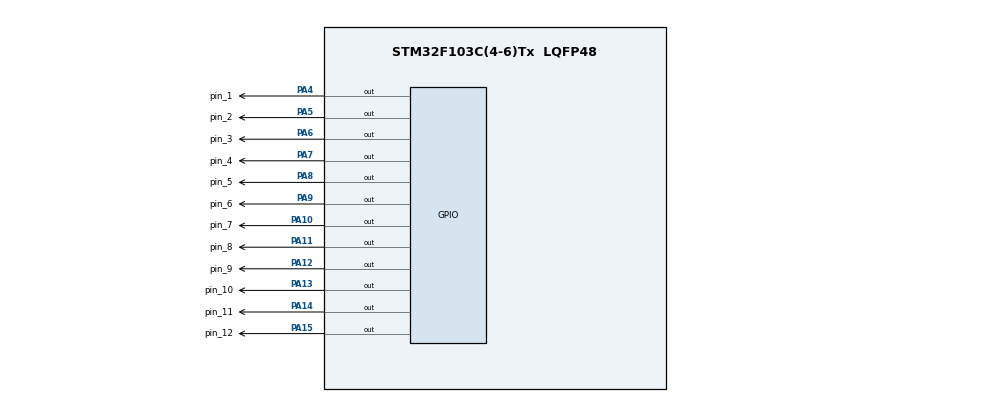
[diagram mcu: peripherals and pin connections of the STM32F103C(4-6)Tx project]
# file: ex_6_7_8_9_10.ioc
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Mcu.Family=STM32F1
Mcu.Name=STM32F103C(4-6)Tx
Mcu.Package=LQFP48
NVIC.PriorityGroup=NVIC_PRIORITYGROUP_4
PA10.GPIO_Label=pin_7
PA10.Signal=GPIO_Output
PA11.GPIO_Label=pin_8
PA11.Signal=GPIO_Output
PA12.GPIO_Label=pin_9
PA12.Signal=GPIO_Output
PA13.GPIO_Label=pin_10
PA13.Signal=GPIO_Output
PA14.GPIO_Label=pin_11
PA14.Signal=GPIO_Output
PA15.GPIO_Label=pin_12
PA15.Signal=GPIO_Output
PA4.GPIO_Label=pin_1
PA4.Signal=GPIO_Output
PA5.GPIO_Label=pin_2
PA5.Signal=GPIO_Output
PA6.GPIO_Label=pin_3
PA6.Signal=GPIO_Output
PA7.GPIO_Label=pin_4
PA7.Signal=GPIO_Output
PA8.GPIO_Label=pin_5
PA8.Signal=GPIO_Output
PA9.GPIO_Label=pin_6
PA9.Signal=GPIO_Output
ProjectManager.HeapSize=0x200
ProjectManager.StackSize=0x400
ProjectManager.TargetToolchain=STM32CubeIDE
RCC.APB1Freq_Value=8000000
RCC.APB2Freq_Value=8000000
board=custom

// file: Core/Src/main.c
/* USER CODE BEGIN Header */
/**
  ******************************************************************************
  * @file           : main.c
  * @brief          : Main program body
  ******************************************************************************
  * @attention
  *
  * Copyright (c) 2024 STMicroelectronics.
  * All rights reserved.
  *
  * This software is licensed under terms that can be found in the LICENSE file
  * in the root directory of this software component.
  * If no LICENSE file comes with this software, it is provided AS-IS.
  *
  ******************************************************************************
  */
/* USER CODE END Header */
#include "main.h"

void SystemClock_Config(void);
static void MX_GPIO_Init(void);

/* USER CODE BEGIN 0 */
void clearAllClock();
void setNumberOnClock(int num);
void clearNumberOnClock(int num);

void clearAllClock()
{
	HAL_GPIO_WritePin(GPIOA, pin_1_Pin, GPIO_PIN_RESET);
	HAL_GPIO_WritePin(GPIOA, pin_2_Pin, GPIO_PIN_RESET);
	HAL_GPIO_WritePin(GPIOA, pin_3_Pin, GPIO_PIN_RESET);
	HAL_GPIO_WritePin(GPIOA, pin_4_Pin, GPIO_PIN_RESET);
	HAL_GPIO_WritePin(GPIOA, pin_5_Pin, GPIO_PIN_RESET);
	HAL_GPIO_WritePin(GPIOA, pin_6_Pin, GPIO_PIN_RESET);
	HAL_GPIO_WritePin(GPIOA, pin_7_Pin, GPIO_PIN_RESET);
	HAL_GPIO_WritePin(GPIOA, pin_8_Pin, GPIO_PIN_RESET);
	HAL_GPIO_WritePin(GPIOA, pin_9_Pin, GPIO_PIN_RESET);
	HAL_GPIO_WritePin(GPIOA, pin_10_Pin, GPIO_PIN_RESET);
	HAL_GPIO_WritePin(GPIOA, pin_11_Pin, GPIO_PIN_RESET);
	HAL_GPIO_WritePin(GPIOA, pin_12_Pin, GPIO_PIN_RESET);
}

void setNumberOnClock(int num)
{
	if(num == 0) HAL_GPIO_WritePin(pin_1_GPIO_Port, pin_1_Pin, GPIO_PIN_SET);
	if(num == 1) HAL_GPIO_WritePin(pin_2_GPIO_Port, pin_2_Pin, GPIO_PIN_SET);
	if(num == 2) HAL_GPIO_WritePin(pin_3_GPIO_Port, pin_3_Pin, GPIO_PIN_SET);
	if(num == 3) HAL_GPIO_WritePin(pin_4_GPIO_Port, pin_4_Pin, GPIO_PIN_SET);
	if(num == 4) HAL_GPIO_WritePin(pin_5_GPIO_Port, pin_5_Pin, GPIO_PIN_SET);
	if(num == 5) HAL_GPIO_WritePin(pin_6_GPIO_Port, pin_6_Pin, GPIO_PIN_SET);
	if(num == 6) HAL_GPIO_WritePin(pin_7_GPIO_Port, pin_7_Pin, GPIO_PIN_SET);
	if(num == 7) HAL_GPIO_WritePin(pin_8_GPIO_Port, pin_8_Pin, GPIO_PIN_SET);
	if(num == 8) HAL_GPIO_WritePin(pin_9_GPIO_Port, pin_9_Pin, GPIO_PIN_SET);
	if(num == 9) HAL_GPIO_WritePin(pin_10_GPIO_Port, pin_10_Pin, GPIO_PIN_SET);
	if(num == 10) HAL_GPIO_WritePin(pin_11_GPIO_Port, pin_11_Pin, GPIO_PIN_SET);
	if(num == 11) HAL_GPIO_WritePin(pin_12_GPIO_Port, pin_12_Pin, GPIO_PIN_SET);
}

void clearNumberOnClock(int num)
{
	if(num == 0) HAL_GPIO_WritePin(pin_1_GPIO_Port, pin_1_Pin, GPIO_PIN_RESET);
	if(num == 1) HAL_GPIO_WritePin(pin_2_GPIO_Port, pin_2_Pin, GPIO_PIN_RESET);
	if(num == 2) HAL_GPIO_WritePin(pin_3_GPIO_Port, pin_3_Pin, GPIO_PIN_RESET);
	if(num == 3) HAL_GPIO_WritePin(pin_4_GPIO_Port, pin_4_Pin, GPIO_PIN_RESET);
	if(num == 4) HAL_GPIO_WritePin(pin_5_GPIO_Port, pin_5_Pin, GPIO_PIN_RESET);
	if(num == 5) HAL_GPIO_WritePin(pin_6_GPIO_Port, pin_6_Pin, GPIO_PIN_RESET);
	if(num == 6) HAL_GPIO_WritePin(pin_7_GPIO_Port, pin_7_Pin, GPIO_PIN_RESET);
	if(num == 7) HAL_GPIO_WritePin(pin_8_GPIO_Port, pin_8_Pin, GPIO_PIN_RESET);
	if(num == 8) HAL_GPIO_WritePin(pin_9_GPIO_Port, pin_9_Pin, GPIO_PIN_RESET);
	if(num == 9) HAL_GPIO_WritePin(pin_10_GPIO_Port, pin_10_Pin, GPIO_PIN_RESET);
	if(num == 10) HAL_GPIO_WritePin(pin_11_GPIO_Port, pin_11_Pin, GPIO_PIN_RESET);
	if(num == 11) HAL_GPIO_WritePin(pin_12_GPIO_Port, pin_12_Pin, GPIO_PIN_RESET);
}

int main(void)
{

  /* MCU Configuration--------------------------------------------------------*/

  /* Reset of all peripherals, Initializes the Flash interface and the Systick. */
  HAL_Init();

  /* Configure the system clock */
  SystemClock_Config();

  /* Initialize all configured peripherals */
  MX_GPIO_Init();

  /* Infinite loop */
  /* USER CODE BEGIN WHILE */
  int count_second = 0;
  int count_minute = 0;
  int count_hour = 0;

  while (1)
  {
    /* USER CODE END WHILE */

    /* USER CODE BEGIN 3 */

	  //---------- hien thuc kim giay-----------
	  if(count_second == 60)// kim giay chay du 5 vong
	  {
		  // kiem tra dieu kien kim gio, phut, giay trung nhau
		  if((count_second/5 - 1) != (count_minute/5) && (count_second/5 - 1) != count_hour)
		  {
			  //xoa kim giay, tao hieu ung chuyen dong
			  clearNumberOnClock(count_second/5 - 1);
		  }
		  count_minute ++;// cap nhat minute
		  count_second = 0;// reset second ve 0
	  }

	  // kiem tra dieu kien kim gio, phut, giay trung nhau
	  if((count_second/5 - 1) != (count_minute/5) && (count_second/5 - 1) != count_hour)
	  {
		  clearNumberOnClock(count_second/5 - 1);
	  }
	  // hien thi kim giay
	  setNumberOnClock(count_second/5);
	  count_second ++;

	  //--------- hien thuc kim phut----------
	  if(count_minute == 60)//kim phut chay du 1 vong
	  {
		  // kiem tra dieu kien kim gio, phut, giay trung nhau
		  if((count_minute/5 -1) != (count_second/5) && (count_minute/5 -1) != count_hour)
		  {
			  //xoa kim phut, tao hieu ung chuyen dong
			  clearNumberOnClock(count_minute/5 -1);
		  }
		  count_hour ++;// cap nhat kim gio
		  count_minute = 0;// reset kim phut ve 0
	  }

	  // kiem tra dieu kien kim gio, phut, giay trung nhau
	  if((count_minute/5 -1) != (count_second/5) && (count_minute/5 -1) != count_hour)
	  {
		  //xoa kim phut, tao hieu ung chuyen dong
		  clearNumberOnClock(count_minute/5 -1);
	  }
	  // hien thi kim phut
	  setNumberOnClock(count_minute/5);

	  // ------------hien thuc kim gio------------
	  if(count_hour == 12)// kim gio quay duoc 1 vong
	  {
		  // kiem tra dieu kien kim gio, phut, giay trung nhau
		  if((count_hour -1) != (count_minute/5) && (count_hour -1) != (count_second/5))
		  {
			  //xoa kim gio, tao hieu ung chuyen dong
			  clearNumberOnClock(count_hour -1);
		  }
		  count_hour = 0;// reset kim phut ve 0
	  }
	  // kiem tra dieu kien kim gio, phut, giay trung nhau
	  if((count_hour -1) != (count_minute/5) && (count_hour -1) != (count_second/5))
	  {
		  //xoa kim gio, tao hieu ung chuyen dong
		  clearNumberOnClock(count_hour -1);
	  }
	  // hien thi kim gio
	  setNumberOnClock(count_hour);

	  HAL_Delay(50);
  }

  /* USER CODE END 3 */
}

void SystemClock_Config(void)
{
  RCC_OscInitTypeDef RCC_OscInitStruct = {0};
  RCC_ClkInitTypeDef RCC_ClkInitStruct = {0};

  /** Initializes the RCC Oscillators according to the specified parameters
  * in the RCC_OscInitTypeDef structure.
  */
  RCC_OscInitStruct.OscillatorType = RCC_OSCILLATORTYPE_HSI;
  RCC_OscInitStruct.HSIState = RCC_HSI_ON;
  RCC_OscInitStruct.HSICalibrationValue = RCC_HSICALIBRATION_DEFAULT;
  RCC_OscInitStruct.PLL.PLLState = RCC_PLL_NONE;
  if (HAL_RCC_OscConfig(&RCC_OscInitStruct) != HAL_OK)
  {
    Error_Handler();
  }
  /** Initializes the CPU, AHB and APB buses clocks
  */
  RCC_ClkInitStruct.ClockType = RCC_CLOCKTYPE_HCLK|RCC_CLOCKTYPE_SYSCLK
                              |RCC_CLOCKTYPE_PCLK1|RCC_CLOCKTYPE_PCLK2;
  RCC_ClkInitStruct.SYSCLKSource = RCC_SYSCLKSOURCE_HSI;
  RCC_ClkInitStruct.AHBCLKDivider = RCC_SYSCLK_DIV1;
  RCC_ClkInitStruct.APB1CLKDivider = RCC_HCLK_DIV1;
  RCC_ClkInitStruct.APB2CLKDivider = RCC_HCLK_DIV1;

  if (HAL_RCC_ClockConfig(&RCC_ClkInitStruct, FLASH_LATENCY_0) != HAL_OK)
  {
    Error_Handler();
  }
}

static void MX_GPIO_Init(void)
{
  GPIO_InitTypeDef GPIO_InitStruct = {0};

  /* GPIO Ports Clock Enable */
  __HAL_RCC_GPIOA_CLK_ENABLE();

  /*Configure GPIO pin Output Level */
  HAL_GPIO_WritePin(GPIOA, pin_1_Pin|pin_2_Pin|pin_3_Pin|pin_4_Pin
                          |pin_5_Pin|pin_6_Pin|pin_7_Pin|pin_8_Pin
                          |pin_9_Pin|pin_10_Pin|pin_11_Pin|pin_12_Pin, GPIO_PIN_RESET);

  /*Configure GPIO pins : pin_1_Pin pin_2_Pin pin_3_Pin pin_4_Pin
                           pin_5_Pin pin_6_Pin pin_7_Pin pin_8_Pin
                           pin_9_Pin pin_10_Pin pin_11_Pin pin_12_Pin */
  GPIO_InitStruct.Pin = pin_1_Pin|pin_2_Pin|pin_3_Pin|pin_4_Pin
                          |pin_5_Pin|pin_6_Pin|pin_7_Pin|pin_8_Pin
                          |pin_9_Pin|pin_10_Pin|pin_11_Pin|pin_12_Pin;
  GPIO_InitStruct.Mode = GPIO_MODE_OUTPUT_PP;
  GPIO_InitStruct.Pull = GPIO_NOPULL;
  GPIO_InitStruct.Speed = GPIO_SPEED_FREQ_LOW;
  HAL_GPIO_Init(GPIOA, &GPIO_InitStruct);

}

void Error_Handler(void)
{
  __disable_irq();
  while (1)
  {
  }
}
